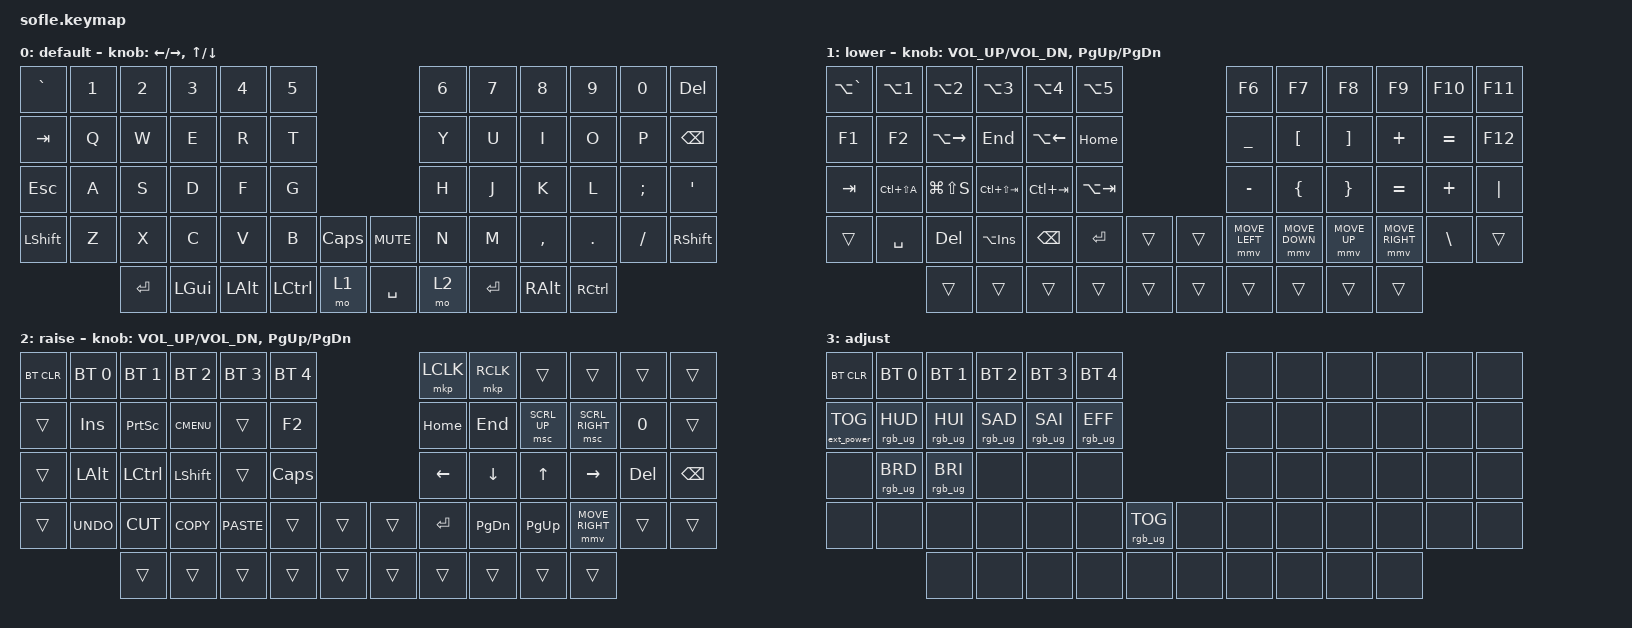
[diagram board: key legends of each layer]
/*
 * Copyright (c) 2020 The ZMK Contributors
 *
 * SPDX-License-Identifier: MIT
 */

#include <behaviors.dtsi>
#include <dt-bindings/zmk/bt.h>
#include <dt-bindings/zmk/ext_power.h>
#include <dt-bindings/zmk/keys.h>
#include <dt-bindings/zmk/pointing.h>
#include <dt-bindings/zmk/rgb.h>

#define BASE 0
#define LOWER 1
#define RAISE 2
#define ADJUST 3

/ {
    // Activate ADJUST layer by pressing raise and lower

    conditional_layers {
        compatible = "zmk,conditional-layers";

        adjust_layer {
            if-layers = <LOWER RAISE>;
            then-layer = <ADJUST>;
        };
    };

    keymap {
        compatible = "zmk,keymap";

        default_layer {
            label = "default";

            // ------------------------------------------------------------------------------------------------------------
            // |   `   |  1  |  2  |  3   |  4   |  5   |                   |  6   |  7    |  8    |  9   |   0   |       |
            // |  ESC  |  Q  |  W  |  E   |  R   |  T   |                   |  Y   |  U    |  I    |  O   |   P   | BKSPC |
            // |  TAB  |  A  |  S  |  D   |  F   |  G   |                   |  H   |  J    |  K    |  L   |   ;   |   '   |
            // | SHIFT |  Z  |  X  |  C   |  V   |  B   |  MUTE  |  |       |  N   |  M    |  ,    |  .   |   /   | SHIFT |
            //               | GUI | ALT  | CTRL | LOWER|  ENTER |  | SPACE | RAISE| CTRL  | ALT   | GUI  |

            bindings = <
&kp GRAVE   &kp N1  &kp N2     &kp N3        &kp N4        &kp N5                                        &kp N6  &kp N7     &kp N8         &kp N9             &kp N0    &kp DELETE
&kp TAB     &kp Q   &kp W      &kp E         &kp R         &kp T                                         &kp Y   &kp U      &kp I          &kp O              &kp P     &kp BSPC
&kp ESCAPE  &kp A   &kp S      &kp D         &kp F         &kp G                                         &kp H   &kp J      &kp K          &kp L              &kp SEMI  &kp SQT
&kp LSHFT   &kp Z   &kp X      &kp C         &kp V         &kp B             &kp CAPSLOCK    &kp C_MUTE  &kp N   &kp M      &kp COMMA      &kp DOT            &kp FSLH  &kp RSHFT
                    &kp ENTER  &kp LEFT_GUI  &kp LEFT_ALT  &kp LEFT_CONTROL  &mo 1           &kp SPACE   &mo 2   &kp ENTER  &kp RIGHT_ALT  &kp RIGHT_CONTROL
            >;

            sensor-bindings =
                <&inc_dec_kp LEFT_ARROW RIGHT>,
                <&inc_dec_kp UP_ARROW DOWN_ARROW>;
        };

        lower_layer {
            label = "lower";

            // TODO: Some binds are waiting for shifted keycode support.
            // ------------------------------------------------------------------------------------------------------------
            // |       |  F1 |  F2 |  F3  |  F4  |  F5  |                   |  F6  |  F7   |  F8   |  F9  |  F10  |  F11  |
            // |   `   |  1  |  2  |  3   |  4   |  5   |                   |  6   |  7    |  8    |  9   |   0   |  F12  |
            // |       |  !  |  @  |  #   |  $   |  %   |                   |  ^   |  &    |  *    |  (   |   )   |   |   |
            // |       |  =  |  -  |  +   |  {   |  }   |        |  |       |  [   |  ]    |  ;    |  :   |   \   |       |
            //               |     |      |      |      |        |  |       |      |       |       |      |

            bindings = <
&kp LA(GRAVE)  &kp LA(NUMBER_1)  &kp LA(NUMBER_2)  &kp LA(NUMBER_3)  &kp LA(NUMBER_4)    &kp LA(NUMBER_5)                    &kp F6          &kp F7            &kp F8             &kp F9           &kp F10    &kp F11
&kp F1         &kp F2            &kp LA(RIGHT)     &kp END           &kp LA(LEFT_ARROW)  &kp HOME                            &kp UNDER       &kp LEFT_BRACKET  &kp RIGHT_BRACKET  &kp PLUS         &kp EQUAL  &kp F12
&kp TAB        &kp LC(LS(A))     &kp LG(LS(S))     &kp LC(LS(TAB))   &kp LC(TAB)         &kp LA(TAB)                         &kp MINUS       &kp LEFT_BRACE    &kp RIGHT_BRACE    &kp EQUAL        &kp PLUS   &kp PIPE
&trans         &kp SPACE         &kp DELETE        &kp LA(INSERT)    &kp BACKSPACE       &kp ENTER         &trans    &trans  &mmv MOVE_LEFT  &mmv MOVE_DOWN    &mmv MOVE_UP       &mmv MOVE_RIGHT  &kp BSLH   &trans
                                 &trans            &trans            &trans              &trans            &trans    &trans  &trans          &trans            &trans             &trans
            >;

            sensor-bindings = <&inc_dec_kp C_VOL_UP C_VOL_DN &inc_dec_kp PG_UP PG_DN>;
        };

        raise_layer {
            label = "raise";

            // ------------------------------------------------------------------------------------------------------------
            // | BTCLR | BT1  | BT2  |  BT3  |  BT4  |  BT5 |                |      |      |       |      |       |       |
            // |       | INS  | PSCR | GUI   |       |      |                | PGUP |      |   ^   |      |       |       |
            // |       | ALT  | CTRL | SHIFT |       | CAPS |                | PGDN |   <- |   v   |  ->  |  DEL  | BKSPC |
            // |       | UNDO | CUT  | COPY  | PASTE |      |      |  |      |      |      |       |      |       |       |
            //                |      |       |       |      |      |  |      |      |      |       |      |

            bindings = <
&bt BT_CLR  &bt BT_SEL 0  &bt BT_SEL 1  &bt BT_SEL 2  &bt BT_SEL 3  &bt BT_SEL 4                    &mkp LCLK       &mkp RCLK  &trans        &trans           &trans   &trans
&trans      &kp INS       &kp PSCRN     &kp K_CMENU   &trans        &kp F2                          &kp HOME        &kp END    &msc SCRL_UP  &msc SCRL_RIGHT  &kp N0   &trans
&trans      &kp LALT      &kp LCTRL     &kp LSHFT     &trans        &kp CLCK                        &kp LEFT_ARROW  &kp DOWN   &kp UP_ARROW  &kp RIGHT        &kp DEL  &kp BSPC
&trans      &kp K_UNDO    &kp K_CUT     &kp K_COPY    &kp K_PASTE   &trans        &trans    &trans  &kp ENTER       &kp PG_DN  &kp PAGE_UP   &mmv MOVE_RIGHT  &trans   &trans
                          &trans        &trans        &trans        &trans        &trans    &trans  &trans          &trans     &trans        &trans
            >;

            sensor-bindings = <&inc_dec_kp C_VOL_UP C_VOL_DN &inc_dec_kp PG_UP PG_DN>;
        };

        adjust_layer {
            // ----------------------------------------------------------------------------------------------------------------------------
            // | BTCLR  |  BT1    |  BT2    |   BT3   |   BT4   |   BT5   |                  |      |      |       |      |       |       |
            // | EXTPWR | RGB_HUD | RGB_HUI | RGB_SAD | RGB_SAI | RGB_EFF |                  |      |      |       |      |       |       |
            // |        | RGB_BRD | RGB_BRI |         |         |         |                  |      |      |       |      |       |       |
            // |        |         |         |         |         |         | RGB_TOG | |      |      |      |       |      |       |       |
            //                    |         |         |         |         |         | |      |      |      |       |      |

            label = "adjust";
            bindings = <
&bt BT_CLR         &bt BT_SEL 0     &bt BT_SEL 1     &bt BT_SEL 2     &bt BT_SEL 3     &bt BT_SEL 4                               &none  &none  &none  &none  &none  &none
&ext_power EP_TOG  &rgb_ug RGB_HUD  &rgb_ug RGB_HUI  &rgb_ug RGB_SAD  &rgb_ug RGB_SAI  &rgb_ug RGB_EFF                            &none  &none  &none  &none  &none  &none
&none              &rgb_ug RGB_BRD  &rgb_ug RGB_BRI  &none            &none            &none                                      &none  &none  &none  &none  &none  &none
&none              &none            &none            &none            &none            &none            &rgb_ug RGB_TOG    &none  &none  &none  &none  &none  &none  &none
                                    &none            &none            &none            &none            &none              &none  &none  &none  &none  &none
            >;
        };
    };
};
